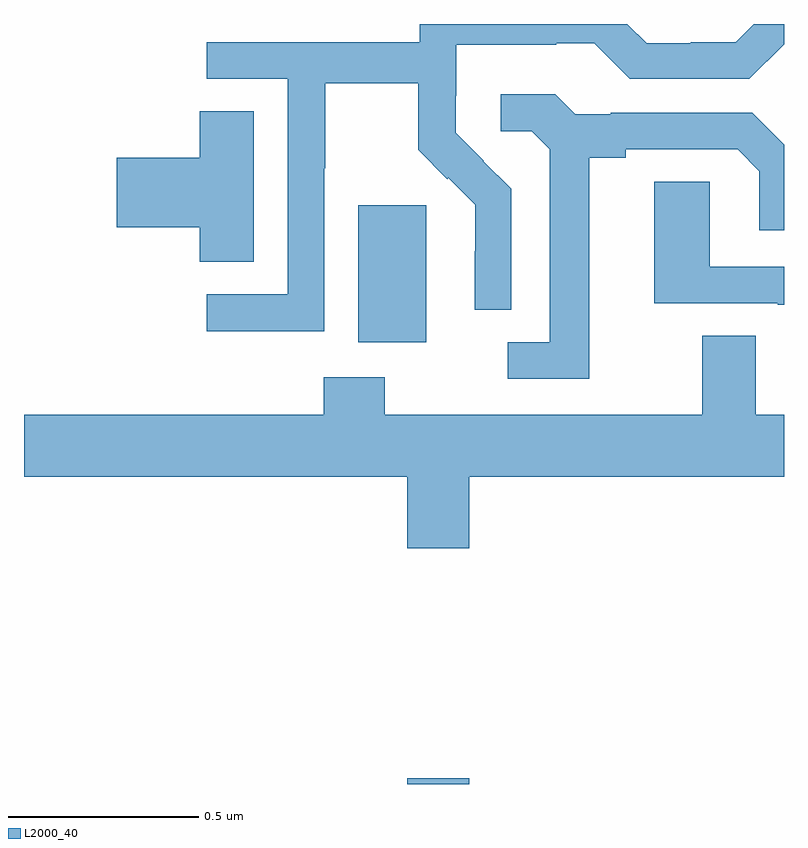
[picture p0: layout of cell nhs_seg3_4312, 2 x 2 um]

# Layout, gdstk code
import gdstk
lib = gdstk.Library(unit=1e-6, precision=1e-09)
def R(c, l, rs):  # rectangles x0, y0, x1, y1
    for r in rs: c.add(gdstk.rectangle(r[:2], r[2:], *l))
def P(c, l, *ps):  # polygons
    for p in ps: c.add(gdstk.Polygon(p, *l))
L2000_40 = (2000, 40)

nhs_seg3_4312 = lib.new_cell('nhs_seg3_4312')
R(nhs_seg3_4312, L2000_40, [(165.008,741.4,165.172,741.415), (164.879,742.562,165.058,742.923)])
P(nhs_seg3_4312, L2000_40, [(164.79,743.02),(164.793,743.02),(164.793,743.244),(165.037,743.244),(165.037,743.069),(165.114,742.992),(165.117,742.995),(165.188,742.925),(165.188,742.802),(165.186,742.802),(165.186,742.648),(165.282,742.648),(165.282,742.966),(165.209,743.039),(165.21,743.04),(165.136,743.114),(165.136,743.211),(165.138,743.211),(165.138,743.345),(165.401,743.345),(165.401,743.349),(165.501,743.349),(165.594,743.256),(165.909,743.256),(166,743.347),(166,743.4),(165.921,743.4),(165.873,743.352),(165.755,743.352),(165.755,743.349),(165.639,743.349),(165.588,743.4),(165.042,743.4),(165.042,743.352),(164.481,743.352),(164.481,743.256),(164.694,743.256),(164.694,742.689),(164.481,742.689),(164.481,742.591),(164.79,742.591)],
  [(165.487,743.048),(165.583,743.048),(165.583,743.07),(165.878,743.07),(165.935,743.013),(165.935,742.857),(166,742.857),(166,743.082),(165.916,743.166),(165.544,743.166),(165.544,743.163),(165.45,743.163),(165.398,743.215),(165.255,743.215),(165.255,743.118),(165.336,743.118),(165.383,743.071),(165.383,742.563),(165.273,742.563),(165.273,742.467),(165.487,742.467)],
  [(164.605,743.171),(164.462,743.171),(164.462,743.048),(164.244,743.048),(164.244,742.865),(164.462,742.865),(164.462,742.774),(164.605,742.774)],
  [(166,742.761),(165.804,742.761),(165.804,742.985),(165.659,742.985),(165.659,742.665),(165.983,742.665),(165.983,742.661),(166,742.661)],
  [(165.172,742.208),(166,742.208),(166,742.372),(165.925,742.372),(165.925,742.58),(165.785,742.58),(165.785,742.372),(164.949,742.372),(164.949,742.471),(164.789,742.471),(164.789,742.372),(164,742.372),(164,742.208),(165.008,742.208),(165.008,742.02),(165.172,742.02)])

lib.write_gds('nhs_seg3_4312.gds')
